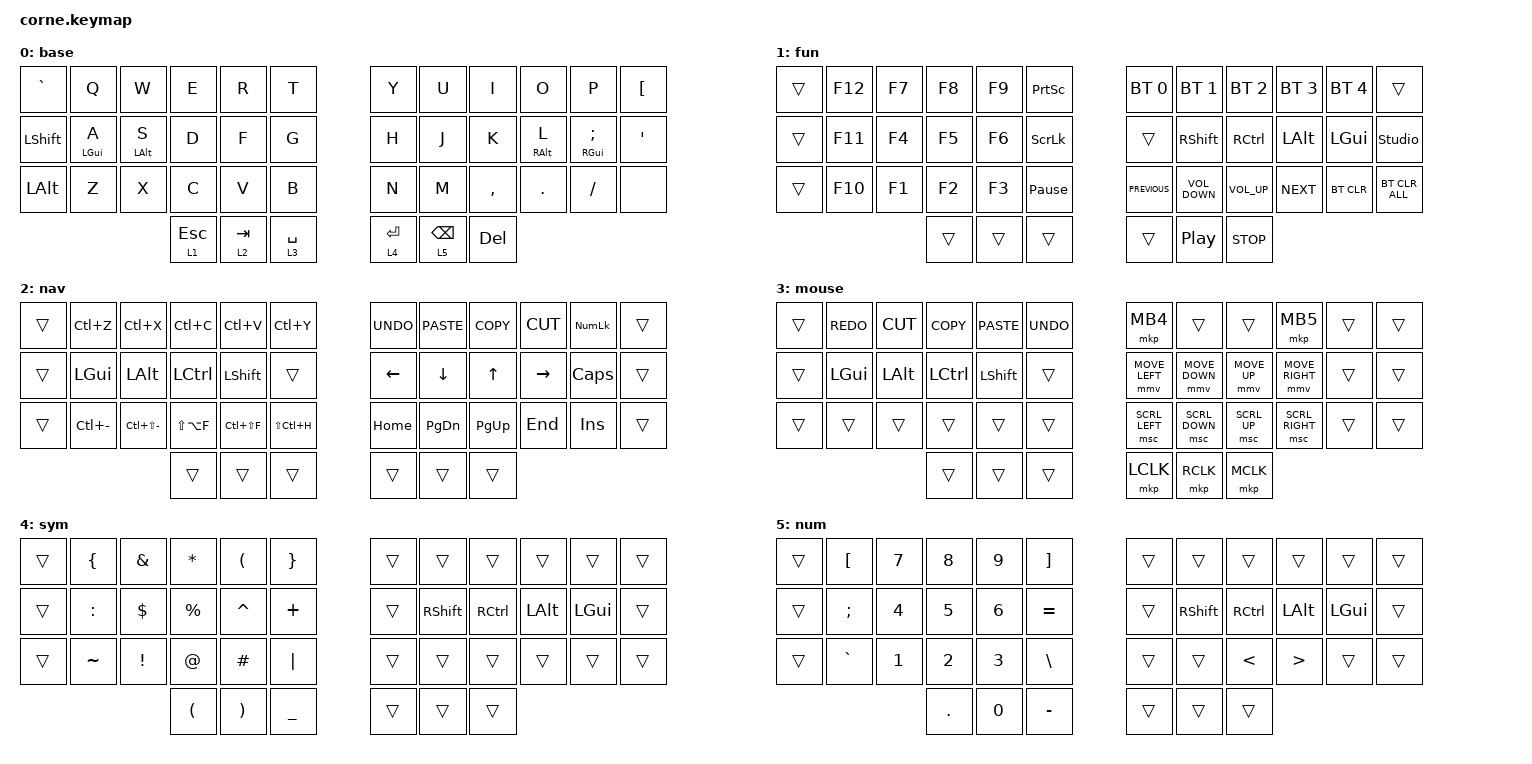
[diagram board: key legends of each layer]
/*
 * Copyright (c) 2020 The ZMK Contributors
 *
 * SPDX-License-Identifier: MIT
 */

#define ZMK_POINTING_DEFAULT_MOVE_VAL 1500  // default: 600
#define ZMK_POINTING_DEFAULT_SCRL_VAL 20    // default: 10

#include <behaviors.dtsi>
#include <dt-bindings/zmk/bt.h>
#include <dt-bindings/zmk/keys.h>
#include <dt-bindings/zmk/pointing.h>

&mt {
    flavor = "balanced";
    quick-tap-ms = <150>;
};

&lt {
    flavor = "balanced";
    quick-tap-ms = <150>;
};

/ {
    keymap {
        compatible = "zmk,keymap";

        base {
            // |  TAB |  Q  |  W  |  E  |  R  |  T  |   |  Y  |  U   |  I  |  O  |  P  | BKSP |
            // | CTRL | GUI | ALT |  D  |  F  |  G  |   |  H  |  J   |  K  | ALT | GUI |  '    |
            // | SHFT |  Z  |  X  |  C  |  V  |  B  |   |  N  |  M   |  ,  |  .  |  /  |      |
            // hold: 1=fun  2=nav  3=mouse     4=sym 5=num    tap: ESC TAB SPC | ENT BSP DEL

            bindings = <
&kp GRAVE       &kp Q           &kp W           &kp E      &kp R      &kp T          &kp Y        &kp U            &kp I       &kp O            &kp P               &kp LEFT_BRACKET
&kp LEFT_SHIFT  &mt LEFT_GUI A  &mt LEFT_ALT S  &kp D      &kp F      &kp G          &kp H        &kp J            &kp K       &mt RIGHT_ALT L  &mt RIGHT_GUI SEMI  &kp APOSTROPHE
&kp LALT        &kp Z           &kp X           &kp C      &kp V      &kp B          &kp N        &kp M            &kp COMMA   &kp DOT          &kp FSLH            &none
                                                &lt 1 ESC  &lt 2 TAB  &lt 3 SPACE    &lt 4 ENTER  &lt 5 BACKSPACE  &kp DELETE
            >;
        };

        fun {
            bindings = <
&trans  &kp F12  &kp F7  &kp F8  &kp F9  &kp PRINTSCREEN    &bt BT_SEL 0    &bt BT_SEL 1       &bt BT_SEL 2     &bt BT_SEL 3  &bt BT_SEL 4  &trans
&trans  &kp F11  &kp F4  &kp F5  &kp F6  &kp SCROLLLOCK     &trans          &kp RSHFT          &kp RCTRL        &kp LALT      &kp LGUI      &studio_unlock
&trans  &kp F10  &kp F1  &kp F2  &kp F3  &kp PAUSE_BREAK    &kp C_PREVIOUS  &kp C_VOLUME_DOWN  &kp C_VOLUME_UP  &kp C_NEXT    &bt BT_CLR    &bt BT_CLR_ALL
                         &trans  &trans  &trans             &trans          &kp C_PLAY_PAUSE   &kp C_STOP
            >;
        };

        nav {
            bindings = <
&trans  &kp LC(Z)      &kp LC(X)          &kp LC(C)      &kp LC(V)      &kp LC(Y)        &kp K_UNDO      &kp K_PASTE     &kp K_COPY    &kp K_CUT  &kp KP_NUMLOCK  &trans
&trans  &kp LGUI       &kp LALT           &kp LCTRL      &kp LSHFT      &trans           &kp LEFT_ARROW  &kp DOWN_ARROW  &kp UP_ARROW  &kp RIGHT  &kp CAPSLOCK    &trans
&trans  &kp LC(MINUS)  &kp LC(LS(MINUS))  &kp LS(LA(F))  &kp LC(LS(F))  &kp LS(LC(H))    &kp HOME        &kp PAGE_DOWN   &kp PAGE_UP   &kp END    &kp INSERT      &trans
                                          &trans         &trans         &trans           &trans          &trans          &trans
            >;
        };

        mouse {
            bindings = <
&trans  &kp K_REDO  &kp K_CUT     &kp K_COPY        &kp K_PASTE     &kp K_UNDO    &mkp MB4        &trans          &trans        &mkp MB5         &trans  &trans
&trans  &kp LGUI    &kp LEFT_ALT  &kp LEFT_CONTROL  &kp LEFT_SHIFT  &trans        &mmv MOVE_LEFT  &mmv MOVE_DOWN  &mmv MOVE_UP  &mmv MOVE_RIGHT  &trans  &trans
&trans  &trans      &trans        &trans            &trans          &trans        &msc SCRL_LEFT  &msc SCRL_DOWN  &msc SCRL_UP  &msc SCRL_RIGHT  &trans  &trans
                                  &trans            &trans          &trans        &mkp LCLK       &mkp RCLK       &mkp MCLK
            >;
        };

        sym {
            bindings = <
&trans  &kp LEFT_BRACE  &kp AMPERSAND    &kp ASTERISK          &kp LEFT_PARENTHESIS   &kp RIGHT_BRACE    &trans  &trans     &trans     &trans    &trans    &trans
&trans  &kp COLON       &kp DOLLAR       &kp PERCENT           &kp CARET              &kp PLUS           &trans  &kp RSHFT  &kp RCTRL  &kp LALT  &kp LGUI  &trans
&trans  &kp TILDE       &kp EXCLAMATION  &kp AT                &kp HASH               &kp PIPE           &trans  &trans     &trans     &trans    &trans    &trans
                                         &kp LEFT_PARENTHESIS  &kp RIGHT_PARENTHESIS  &kp UNDER          &trans  &trans     &trans
            >;
        };

        num {
            bindings = <
&trans  &kp LBKT   &kp N7  &kp N8   &kp N9  &kp RBKT     &trans  &trans     &trans         &trans    &trans    &trans
&trans  &kp SEMI   &kp N4  &kp N5   &kp N6  &kp EQUAL    &trans  &kp RSHFT  &kp RCTRL      &kp LALT  &kp LGUI  &trans
&trans  &kp GRAVE  &kp N1  &kp N2   &kp N3  &kp BSLH     &trans  &trans     &kp LESS_THAN  &kp GT    &trans    &trans
                           &kp DOT  &kp N0  &kp MINUS    &trans  &trans     &trans
            >;
        };
    };
};
